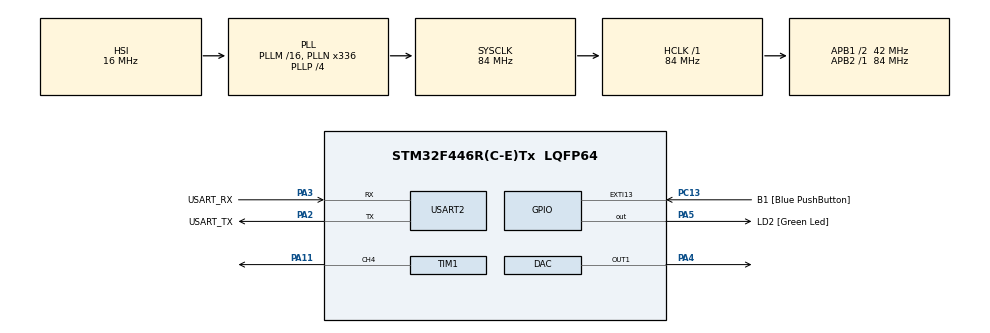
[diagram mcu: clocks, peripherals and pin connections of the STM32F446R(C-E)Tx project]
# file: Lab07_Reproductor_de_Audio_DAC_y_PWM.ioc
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DAC.DAC_Trigger=DAC_TRIGGER_T6_TRGO
Dma.DAC1.0.Direction=DMA_MEMORY_TO_PERIPH
Dma.DAC1.0.FIFOMode=DMA_FIFOMODE_DISABLE
Dma.DAC1.0.Instance=DMA1_Stream5
Dma.DAC1.0.MemDataAlignment=DMA_MDATAALIGN_WORD
Dma.DAC1.0.MemInc=DMA_MINC_ENABLE
Dma.DAC1.0.Mode=DMA_CIRCULAR
Dma.DAC1.0.PeriphDataAlignment=DMA_PDATAALIGN_WORD
Dma.DAC1.0.PeriphInc=DMA_PINC_DISABLE
Dma.DAC1.0.Priority=DMA_PRIORITY_LOW
Dma.Request0=DAC1
Mcu.Family=STM32F4
Mcu.Name=STM32F446R(C-E)Tx
Mcu.Package=LQFP64
NVIC.DMA1_Stream5_IRQn=true\:0\:0\:false\:false\:true\:false\:true\:true
NVIC.PriorityGroup=NVIC_PRIORITYGROUP_0
NVIC.USART2_IRQn=true\:0\:0\:false\:false\:true\:true\:true\:true
PA11.Signal=S_TIM1_CH4
PA13.GPIO_Label=TMS
PA13.Mode=Serial_Wire
PA13.Signal=SYS_JTMS-SWDIO
PA14.GPIO_Label=TCK
PA14.Mode=Serial_Wire
PA14.Signal=SYS_JTCK-SWCLK
PA2.GPIO_Label=USART_TX
PA2.Mode=Asynchronous
PA2.Signal=USART2_TX
PA3.GPIO_Label=USART_RX
PA3.Mode=Asynchronous
PA3.Signal=USART2_RX
PA4.Signal=COMP_DAC1_group
PA5.GPIO_Label=LD2 [Green Led]
PA5.Signal=GPIO_Output
PB3.GPIO_Label=SWO
PB3.Signal=SYS_JTDO-SWO
PC13.GPIO_Label=B1 [Blue PushButton]
PC13.GPIO_ModeDefaultEXTI=GPIO_MODE_IT_FALLING
PC13.Signal=GPXTI13
PC14-OSC32_IN.Mode=LSE-External-Oscillator
PC14-OSC32_IN.Signal=RCC_OSC32_IN
PC15-OSC32_OUT.Mode=LSE-External-Oscillator
PC15-OSC32_OUT.Signal=RCC_OSC32_OUT
PH0-OSC_IN.Mode=HSE-External-Oscillator
PH0-OSC_IN.Signal=RCC_OSC_IN
PH1-OSC_OUT.Mode=HSE-External-Oscillator
PH1-OSC_OUT.Signal=RCC_OSC_OUT
ProjectManager.HeapSize=0x200
ProjectManager.StackSize=0x400
ProjectManager.TargetToolchain=STM32CubeIDE
RCC.48MHZClocksFreq_Value=84000000
RCC.AHBFreq_Value=84000000
RCC.APB1CLKDivider=RCC_HCLK_DIV2
RCC.APB1Freq_Value=42000000
RCC.APB1TimFreq_Value=84000000
RCC.APB2Freq_Value=84000000
RCC.APB2TimFreq_Value=84000000
RCC.CortexFreq_Value=84000000
RCC.FLatency-AdvancedSettings=FLASH_LATENCY_2
RCC.HCLKFreq_Value=84000000
RCC.HSE_VALUE=8000000
RCC.HSI_VALUE=16000000
RCC.PLLN=336
RCC.PLLP=RCC_PLLP_DIV4
RCC.SYSCLKFreq_VALUE=84000000
RCC.SYSCLKSource=RCC_SYSCLKSOURCE_PLLCLK
RCC.USBFreq_Value=168000000
RCC.VCOOutputFreq_Value=336000000
SH.COMP_DAC1_group.0=DAC_OUT1,DAC_OUT1
SH.S_TIM1_CH4.0=TIM1_CH4,PWM Generation4 CH4
TIM1.Channel-PWM\ Generation4\ CH4=TIM_CHANNEL_4
TIM1.Period=100-1
TIM1.Pulse-PWM\ Generation4\ CH4=50
TIM6.Period=1000-1
TIM6.Prescaler=1
TIM6.TIM_MasterOutputTrigger=TIM_TRGO_UPDATE
USART2.VirtualMode=VM_ASYNC
VP_TIM1_VS_ClockSourceINT.Mode=Internal
VP_TIM6_VS_ClockSourceINT.Mode=Enable_Timer
board=NUCLEO-F446RE

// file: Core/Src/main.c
/* USER CODE BEGIN Header */
/**
  ******************************************************************************
  * @file           : main.c
  * @brief          : Main program body
  ******************************************************************************
  * @attention
  *
  * Copyright (c) 2026 STMicroelectronics.
  * All rights reserved.
  *
  * This software is licensed under terms that can be found in the LICENSE file
  * in the root directory of this software component.
  * If no LICENSE file comes with this software, it is provided AS-IS.
  *
  ******************************************************************************
  */
/* USER CODE END Header */
#include "main.h"

/* USER CODE BEGIN Includes */
#include "pitchesPRE.h"
#include "pitchesDAC.h"
#include "math.h"
#include <stdio.h>
/* USER CODE END Includes */

/* USER CODE BEGIN PD */
#define TIM_FREQ 84000000
#define ARR_pwm 100
#define size_dac 128
#define PI 3.1415926
#define PSC_dac 1
/* USER CODE END PD */

DAC_HandleTypeDef hdac;
DMA_HandleTypeDef hdma_dac1;

TIM_HandleTypeDef htim1;
TIM_HandleTypeDef htim6;

UART_HandleTypeDef huart2;

/* USER CODE BEGIN PV */
uint32_t Ysine[size_dac];

int notes[] = {
    NOTE_A4, NOTE_E5, NOTE_A5, NOTE_A5, NOTE_B5, NOTE_CS6, NOTE_D6, NOTE_E6,
    NOTE_E6, NOTE_E6, NOTE_F6, NOTE_G6, NOTE_A6,
    NOTE_A6, NOTE_A6, NOTE_G6, NOTE_F6, NOTE_G6, NOTE_F6, NOTE_E6,
    NOTE_E6, NOTE_D6, NOTE_D6, NOTE_E6, NOTE_F6,

    NOTE_E6, NOTE_D6, NOTE_C6, NOTE_C6, NOTE_D6, NOTE_E6,
    NOTE_D6, NOTE_C6, NOTE_B5, NOTE_B5, NOTE_C6, NOTE_D6, NOTE_F6, NOTE_E6,
    /*NOTE_A4, NOTE_E5, NOTE_A5, NOTE_A5, NOTE_B5, NOTE_CS6, NOTE_D6, NOTE_E6,
    NOTE_E6, NOTE_E6, NOTE_F6, NOTE_G6, NOTE_A6,*/

    /*NOTE_C6, NOTE_B5, NOTE_G5,
    NOTE_E5, NOTE_F5, NOTE_A5, NOTE_G5, NOTE_E5,
    NOTE_E5, NOTE_F5, NOTE_A5, NOTE_GS5, NOTE_E5,
    NOTE_CS5, NOTE_D5, NOTE_F5, NOTE_E5, NOTE_C5,

    NOTE_A4, NOTE_B4, NOTE_B4, NOTE_C5, NOTE_D5,
    NOTE_F5, NOTE_E5*/
};

int durations[] = {
    170, 500, 170, 170, 170, 170, 170, 500,
    170, 170, 170, 170, 500,
    170, 170, 170, 170, 170, 170, 500,
    170, 170, 170, 170, 340,

    170, 170, 170, 170, 170, 500,
    170, 170, 170, 170, 170, 170, 425, 425,
    /*170, 170, 170, 170, 170, 170, 170, 340,
    170, 170, 170, 170, 380,*/

    /*255, 255, 425,
    190, 190, 190, 190, 380,
    190, 190, 190, 190, 380,
    190, 190, 190, 190, 425,

    190, 190, 190, 190, 380,
    300, 560*/
};

int pauses[] = {
    215, 215, 215, 215, 215, 215, 215, 430,
    215, 215, 215, 215, 430,
    215, 215, 215, 215, 215, 215, 430,
    215, 215, 215, 215, 430,

    215, 215, 215, 215, 215, 430,
    215, 215, 215, 215, 215, 215, 320, 510,
    /*215, 215, 215, 215, 215, 215, 215, 430,
    215, 215, 215, 215, 470,*/

    /*330, 330, 520,
    245, 245, 245, 245, 470,
    245, 245, 245, 245, 470,
    245, 245, 245, 245, 520,

    245, 245, 245, 245, 470,
    390, 690*/
};

int kirbymelody[] = {
    784, 698, 622, 587, 466, 392,
    523, 587, 622, 698, 587, 0, 1047, 0,

    784, 0, 622, 0, 587, 0, 523, 0, 523, 587,
    0, 622, 523, 0, 466, 523, 0, 392, 1047, 0,

    784, 0, 622, 0, 587, 0, 523, 0, 523, 587,
    0, 622, 698, 0, 587, 466, 0, 523, 392, 0,

    523, 0, 1047
};

int kirbydurations[] = {
    320, 160, 160, 160, 160, 320,
    160, 160, 160, 160, 400, 70, 320, 110,

	320, 65, 320, 65, 320, 65, 260, 55, 200, 200,
    55, 200, 200, 55, 200, 200, 55, 260, 380, 110,

    320, 65, 320, 65, 320, 65, 260, 55, 200, 200,
    55, 200, 260, 55, 200, 200, 55, 260, 380, 110,

    290, 65, 620
	};

int kirbypauses[] = {
    1,1,1,1,1,1,
    1,1,1,1,1,200,

    200,200,200,200,200,200,
    200,200,200,200,200,350,

    200,200,200,200,200,200,
    200,200,200,200,200,350,

    250,500
};

int Mariomelody[] = {
    659, 659, 659, 0, 523, 659, 784, 392, 523, 0, 392, 0, 330, 0, 440, 0, 494, 0
};

int MarionoteDurations[] = {
    150, 300, 150, 150, 150, 300, 600, 600, 300, 150, 150, 300, 300, 150, 150, 150, 150, 150
};

uint8_t menu = 1;
volatile uint8_t ctrl_cmd;
volatile uint8_t rx_data;
/* USER CODE END PV */

void SystemClock_Config(void);
static void MX_GPIO_Init(void);
static void MX_DMA_Init(void);
static void MX_TIM1_Init(void);
static void MX_USART2_UART_Init(void);
static void MX_DAC_Init(void);
static void MX_TIM6_Init(void);
/* USER CODE BEGIN PFP */
int presForFrequency(int frequency);
void playTone(int *tone, int *duration, int *pause, int size);
void playTonePRE(int *tone, int *duration, int *pause, int size);
void noTone(void);
void generarSin(void);
int calcularARR(int freq);
void playToneDAC(int *tone, int *duration, int *pause, int Nsize);
void noToneDAC(void);
void startToneDAC(int arr_value);
/* USER CODE END PFP */

/* USER CODE BEGIN 0 */
int presForFrequency(int frequency)
{
	if (frequency == 0)
	{
		return 0;
	}
	return ((TIM_FREQ / (ARR_pwm * frequency)) -1 );
}

void playTone(int *tone, int *duration, int *pause, int size)
{
	for (int i = 0; i < size; i++)
	{
		int prescaler = presForFrequency(tone[i]); // Calcular el prescaler
		int dur = duration[i]; // Obtener la duración
		int pauseBetweenTones = 0;
		if (pause != NULL)
		{
			pauseBetweenTones = pause[i] - duration[i];
		}

		__HAL_TIM_SET_PRESCALER(&htim1, prescaler);
		HAL_Delay(dur); // Duración de la nota
		noTone(); // Pausa
		HAL_Delay(pauseBetweenTones); // Duración sin tono
	}
}

void playTonePRE(int *tone, int *duration, int *pause, int size)
{
    for (int i = 0; i < size; i++)
    {
        int prescaler = tone[i];
        int dur = duration[i];
        int pauseBetweenTones = 0;

        if (pause != NULL)
        {
            pauseBetweenTones = pause[i] - duration[i];
            if (pauseBetweenTones < 0)
            {
                pauseBetweenTones = 0;
            }
        }

        __HAL_TIM_SET_PRESCALER(&htim1, prescaler);
        __HAL_TIM_SET_COUNTER(&htim1, 0);
        __HAL_TIM_SET_COMPARE(&htim1, TIM_CHANNEL_4, 50);  // activar PWM

        HAL_Delay(dur);

        noTone();  // apagar PWM
        HAL_Delay(pauseBetweenTones);
    }
}

void noTone(void)
{
    __HAL_TIM_SET_COMPARE(&htim1, TIM_CHANNEL_4, 0);
}

void generarSin(void)
{
	for (int x = 0; x < size_dac; x++)
	{
		Ysine[x] = ((sin(x * 2 * PI / size_dac) + 1) * (4096 / 2));
	}
}

int calcularARR(int freq)
{
	if (freq == 0)
		return 0;
	int TF = size_dac * freq;
	return ((TIM_FREQ/((PSC_dac+1)*TF))-1);
}

void playToneDAC(int *tone, int *duration, int *pause, int Nsize)
{
	for (int i=0; i<Nsize; i++)
	{
		int valorARR = calcularARR(tone[i]); // Calcular el valor de ARR
		int dur = duration[i]; // Obtener la duración
		int pauseBetweenNotes = 0;
		if (pause != NULL) pauseBetweenNotes = pause[i] - duration[i];

		TIM6->ARR = valorARR;
		HAL_Delay(dur); // Duración nota
		noTone(); // Pausa
		HAL_Delay(pauseBetweenNotes); // Duración sin tono
	}
}

void noToneDAC(void)
{
	TIM6->ARR = 0; // ARR = 0
}

void startToneDAC(int arr_value)
{
    __HAL_TIM_SET_AUTORELOAD(&htim6, arr_value);
    __HAL_TIM_SET_COUNTER(&htim6, 0);

    HAL_DAC_Start_DMA(&hdac, DAC_CHANNEL_1, Ysine, size_dac, DAC_ALIGN_12B_R);
    HAL_TIM_Base_Start(&htim6);
}

/* USER CODE END 0 */

int main(void)
{

  /* MCU Configuration--------------------------------------------------------*/

  /* Reset of all peripherals, Initializes the Flash interface and the Systick. */
  HAL_Init();

  /* Configure the system clock */
  SystemClock_Config();

  /* Initialize all configured peripherals */
  MX_GPIO_Init();
  MX_DMA_Init();
  MX_TIM1_Init();
  MX_USART2_UART_Init();
  MX_DAC_Init();
  MX_TIM6_Init();
  /* USER CODE BEGIN 2 */
  HAL_TIM_PWM_Start(&htim1, TIM_CHANNEL_4);
  HAL_UART_Receive_IT(&huart2, &rx_data, 1);
  noTone();
  noToneDAC();
  generarSin();
  HAL_DAC_Init(&hdac);
  HAL_TIM_Base_Start(&htim6);
  HAL_DAC_Start_DMA(&hdac, DAC_CHANNEL_1, Ysine, size_dac, DAC_ALIGN_12B_R);
  /* USER CODE END 2 */

  /* Infinite loop */
  /* USER CODE BEGIN WHILE */
  while (1)
  {

	  switch (ctrl_cmd)
	  {
	  case '1':
		  ctrl_cmd = 0;
		  menu = 2;
		  break;

	  case '2':
		  ctrl_cmd = 0;
		  menu = 3;
		  break;
	  }

	  if (menu == 1)
	  {
		  menu = 0;
		  HAL_UART_Transmit(&huart2, (uint8_t*)"Seleccione la melodia que desea escuchar:\r\n", 43, 1000);
		  HAL_UART_Transmit(&huart2, (uint8_t*)"1.- Melodia 1 (PWM)\r\n", 21, 1000);
		  HAL_UART_Transmit(&huart2, (uint8_t*)"2.- Melodia 2 (DAC)\r\n", 21, 1000);
		  HAL_UART_Transmit(&huart2, (uint8_t*)" \r\n", 3, 1000);
	  }
	  else if (menu == 2)
	  {
		  playTonePRE(notes, durations, pauses, (sizeof(notes)/sizeof(notes[0])));
		  noTone();
		  //__HAL_TIM_SET_COMPARE(&htim1, TIM_CHANNEL_4, 0);
		  menu = 1;
	  }
	  else if (menu == 3)
	  {
		  playToneDAC(kirbymelody, kirbydurations, NULL, (sizeof(kirbymelody)/sizeof(kirbymelody[0])));
		  noToneDAC();
		  menu = 1;
	  }
    /* USER CODE END WHILE */

  }
}

void SystemClock_Config(void)
{
  RCC_OscInitTypeDef RCC_OscInitStruct = {0};
  RCC_ClkInitTypeDef RCC_ClkInitStruct = {0};

  /** Configure the main internal regulator output voltage
  */
  __HAL_RCC_PWR_CLK_ENABLE();
  __HAL_PWR_VOLTAGESCALING_CONFIG(PWR_REGULATOR_VOLTAGE_SCALE3);

  /** Initializes the RCC Oscillators according to the specified parameters
  * in the RCC_OscInitTypeDef structure.
  */
  RCC_OscInitStruct.OscillatorType = RCC_OSCILLATORTYPE_HSI;
  RCC_OscInitStruct.HSIState = RCC_HSI_ON;
  RCC_OscInitStruct.HSICalibrationValue = RCC_HSICALIBRATION_DEFAULT;
  RCC_OscInitStruct.PLL.PLLState = RCC_PLL_ON;
  RCC_OscInitStruct.PLL.PLLSource = RCC_PLLSOURCE_HSI;
  RCC_OscInitStruct.PLL.PLLM = 16;
  RCC_OscInitStruct.PLL.PLLN = 336;
  RCC_OscInitStruct.PLL.PLLP = RCC_PLLP_DIV4;
  RCC_OscInitStruct.PLL.PLLQ = 2;
  RCC_OscInitStruct.PLL.PLLR = 2;
  if (HAL_RCC_OscConfig(&RCC_OscInitStruct) != HAL_OK)
  {
    Error_Handler();
  }

  /** Initializes the CPU, AHB and APB buses clocks
  */
  RCC_ClkInitStruct.ClockType = RCC_CLOCKTYPE_HCLK|RCC_CLOCKTYPE_SYSCLK
                              |RCC_CLOCKTYPE_PCLK1|RCC_CLOCKTYPE_PCLK2;
  RCC_ClkInitStruct.SYSCLKSource = RCC_SYSCLKSOURCE_PLLCLK;
  RCC_ClkInitStruct.AHBCLKDivider = RCC_SYSCLK_DIV1;
  RCC_ClkInitStruct.APB1CLKDivider = RCC_HCLK_DIV2;
  RCC_ClkInitStruct.APB2CLKDivider = RCC_HCLK_DIV1;

  if (HAL_RCC_ClockConfig(&RCC_ClkInitStruct, FLASH_LATENCY_2) != HAL_OK)
  {
    Error_Handler();
  }
}

static void MX_DAC_Init(void)
{

  DAC_ChannelConfTypeDef sConfig = {0};

  /** DAC Initialization
  */
  hdac.Instance = DAC;
  if (HAL_DAC_Init(&hdac) != HAL_OK)
  {
    Error_Handler();
  }

  /** DAC channel OUT1 config
  */
  sConfig.DAC_Trigger = DAC_TRIGGER_T6_TRGO;
  sConfig.DAC_OutputBuffer = DAC_OUTPUTBUFFER_ENABLE;
  if (HAL_DAC_ConfigChannel(&hdac, &sConfig, DAC_CHANNEL_1) != HAL_OK)
  {
    Error_Handler();
  }

}

static void MX_TIM1_Init(void)
{

  TIM_ClockConfigTypeDef sClockSourceConfig = {0};
  TIM_MasterConfigTypeDef sMasterConfig = {0};
  TIM_OC_InitTypeDef sConfigOC = {0};
  TIM_BreakDeadTimeConfigTypeDef sBreakDeadTimeConfig = {0};

  htim1.Instance = TIM1;
  htim1.Init.Prescaler = 0;
  htim1.Init.CounterMode = TIM_COUNTERMODE_UP;
  htim1.Init.Period = 100-1;
  htim1.Init.ClockDivision = TIM_CLOCKDIVISION_DIV1;
  htim1.Init.RepetitionCounter = 0;
  htim1.Init.AutoReloadPreload = TIM_AUTORELOAD_PRELOAD_DISABLE;
  if (HAL_TIM_Base_Init(&htim1) != HAL_OK)
  {
    Error_Handler();
  }
  sClockSourceConfig.ClockSource = TIM_CLOCKSOURCE_INTERNAL;
  if (HAL_TIM_ConfigClockSource(&htim1, &sClockSourceConfig) != HAL_OK)
  {
    Error_Handler();
  }
  if (HAL_TIM_PWM_Init(&htim1) != HAL_OK)
  {
    Error_Handler();
  }
  sMasterConfig.MasterOutputTrigger = TIM_TRGO_RESET;
  sMasterConfig.MasterSlaveMode = TIM_MASTERSLAVEMODE_DISABLE;
  if (HAL_TIMEx_MasterConfigSynchronization(&htim1, &sMasterConfig) != HAL_OK)
  {
    Error_Handler();
  }
  sConfigOC.OCMode = TIM_OCMODE_PWM1;
  sConfigOC.Pulse = 50;
  sConfigOC.OCPolarity = TIM_OCPOLARITY_HIGH;
  sConfigOC.OCFastMode = TIM_OCFAST_DISABLE;
  sConfigOC.OCIdleState = TIM_OCIDLESTATE_RESET;
  sConfigOC.OCNIdleState = TIM_OCNIDLESTATE_RESET;
  if (HAL_TIM_PWM_ConfigChannel(&htim1, &sConfigOC, TIM_CHANNEL_4) != HAL_OK)
  {
    Error_Handler();
  }
  sBreakDeadTimeConfig.OffStateRunMode = TIM_OSSR_DISABLE;
  sBreakDeadTimeConfig.OffStateIDLEMode = TIM_OSSI_DISABLE;
  sBreakDeadTimeConfig.LockLevel = TIM_LOCKLEVEL_OFF;
  sBreakDeadTimeConfig.DeadTime = 0;
  sBreakDeadTimeConfig.BreakState = TIM_BREAK_DISABLE;
  sBreakDeadTimeConfig.BreakPolarity = TIM_BREAKPOLARITY_HIGH;
  sBreakDeadTimeConfig.AutomaticOutput = TIM_AUTOMATICOUTPUT_DISABLE;
  if (HAL_TIMEx_ConfigBreakDeadTime(&htim1, &sBreakDeadTimeConfig) != HAL_OK)
  {
    Error_Handler();
  }
  HAL_TIM_MspPostInit(&htim1);

}

static void MX_TIM6_Init(void)
{

  TIM_MasterConfigTypeDef sMasterConfig = {0};

  htim6.Instance = TIM6;
  htim6.Init.Prescaler = 1;
  htim6.Init.CounterMode = TIM_COUNTERMODE_UP;
  htim6.Init.Period = 1000-1;
  htim6.Init.AutoReloadPreload = TIM_AUTORELOAD_PRELOAD_DISABLE;
  if (HAL_TIM_Base_Init(&htim6) != HAL_OK)
  {
    Error_Handler();
  }
  sMasterConfig.MasterOutputTrigger = TIM_TRGO_UPDATE;
  sMasterConfig.MasterSlaveMode = TIM_MASTERSLAVEMODE_DISABLE;
  if (HAL_TIMEx_MasterConfigSynchronization(&htim6, &sMasterConfig) != HAL_OK)
  {
    Error_Handler();
  }

}

static void MX_USART2_UART_Init(void)
{

  huart2.Instance = USART2;
  huart2.Init.BaudRate = 115200;
  huart2.Init.WordLength = UART_WORDLENGTH_8B;
  huart2.Init.StopBits = UART_STOPBITS_1;
  huart2.Init.Parity = UART_PARITY_NONE;
  huart2.Init.Mode = UART_MODE_TX_RX;
  huart2.Init.HwFlowCtl = UART_HWCONTROL_NONE;
  huart2.Init.OverSampling = UART_OVERSAMPLING_16;
  if (HAL_UART_Init(&huart2) != HAL_OK)
  {
    Error_Handler();
  }

}

static void MX_DMA_Init(void)
{

  /* DMA controller clock enable */
  __HAL_RCC_DMA1_CLK_ENABLE();

  /* DMA interrupt init */
  /* DMA1_Stream5_IRQn interrupt configuration */
  HAL_NVIC_SetPriority(DMA1_Stream5_IRQn, 0, 0);
  HAL_NVIC_EnableIRQ(DMA1_Stream5_IRQn);

}

static void MX_GPIO_Init(void)
{
  GPIO_InitTypeDef GPIO_InitStruct = {0};

  /* GPIO Ports Clock Enable */
  __HAL_RCC_GPIOC_CLK_ENABLE();
  __HAL_RCC_GPIOH_CLK_ENABLE();
  __HAL_RCC_GPIOA_CLK_ENABLE();
  __HAL_RCC_GPIOB_CLK_ENABLE();

  /*Configure GPIO pin Output Level */
  HAL_GPIO_WritePin(LD2_GPIO_Port, LD2_Pin, GPIO_PIN_RESET);

  /*Configure GPIO pin : B1_Pin */
  GPIO_InitStruct.Pin = B1_Pin;
  GPIO_InitStruct.Mode = GPIO_MODE_IT_FALLING;
  GPIO_InitStruct.Pull = GPIO_NOPULL;
  HAL_GPIO_Init(B1_GPIO_Port, &GPIO_InitStruct);

  /*Configure GPIO pin : LD2_Pin */
  GPIO_InitStruct.Pin = LD2_Pin;
  GPIO_InitStruct.Mode = GPIO_MODE_OUTPUT_PP;
  GPIO_InitStruct.Pull = GPIO_NOPULL;
  GPIO_InitStruct.Speed = GPIO_SPEED_FREQ_LOW;
  HAL_GPIO_Init(LD2_GPIO_Port, &GPIO_InitStruct);

}

/* USER CODE BEGIN 4 */
void HAL_UART_RxCpltCallback(UART_HandleTypeDef *huart)
{
    if (huart->Instance == USART2)
    {
    	ctrl_cmd = rx_data;

        //HAL_UART_Transmit(&huart2, &rx_data, 1, 100);

        HAL_UART_Receive_IT(&huart2, &rx_data, 1);
    }
}
/* USER CODE END 4 */

void Error_Handler(void)
{
  __disable_irq();
  while (1)
  {
  }
}
